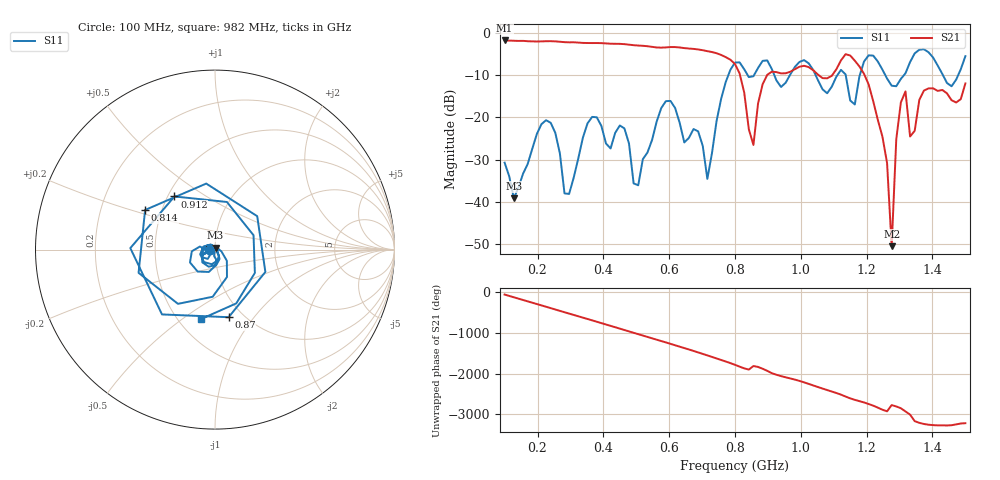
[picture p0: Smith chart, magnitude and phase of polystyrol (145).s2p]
! NanoVNA-App
! Date: 2025-09-25 15:31:01
! Start: 100MHz Stop: 1,5GHz Points: 101
! S-Parameter data: F S11 S21 S12 S22
# Hz S RI R 50
!  Frequency  S11_Real  S11_Imag  S21_Real  S21_Imag  S12_Real  S12_Imag  S22_Real  S22_Imag
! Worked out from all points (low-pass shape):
!   101 points, 100 MHz to 1.5 GHz, reference 50 ohm
!   highest |S21| = -1.80 dB at 100 MHz (marker M1); lowest = -50.4 dB at 1.276 GHz (marker M2)
!   |S21| within 3 dB of the highest: start of sweep to 743.1 MHz
!   lowest |S11| = -39.1 dB at 128 MHz (marker M3), VSWR 1.02, Z = 50.3 + j1.06 ohm
!   |S11| at or under -10 dB: start of sweep to 779.8 MHz; 1.045 GHz to 1.111 GHz (66.16 MHz wide, 6.14 % of centre); 1.257 GHz to 1.313 GHz (56.64 MHz wide, 4.41 % of centre) (the widest 3 of 7)
!   S12 and S22 are empty: the file has one direction only
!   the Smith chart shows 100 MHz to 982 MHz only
!   S11 on the Smith chart (normalised r, x): 100 MHz: 0.94, -0.01; 814 MHz: 0.40, +0.22; 870 MHz: 0.86, -0.76; 912 MHz: 0.54, +0.37; 982 MHz: 0.64, -0.59
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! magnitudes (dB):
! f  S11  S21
! 100 MHz  -30.7  -1.8
! 128 MHz  -39.1  -1.9
! 212 MHz  -21.6  -2.0
! 282 MHz  -38.0  -2.2
! 338 MHz  -24.7  -2.4
! 506 MHz  -36.1  -3.0
! 576 MHz  -17.8  -3.5
! 716 MHz  -34.5  -4.3
! 800 MHz  -7.0  -7.4
! 814 MHz  -7.0  -9.6
! 856 MHz  -10.3  -26.5
! 870 MHz  -8.3  -16.7
! 912 MHz  -8.6  -9.2
! 982 MHz  -8.0  -8.6
! 1.038 GHz  -8.8  -8.9
! 1.192 GHz  -6.8  -9.7
! 1.262 GHz  -10.8  -30.8
! 1.276 GHz  -12.5  -50.4
! 1.29 GHz  -12.6  -25.1
! 1.318 GHz  -9.6  -13.8
! 1.332 GHz  -6.9  -24.5
! 1.5 GHz  -5.5  -12.0
